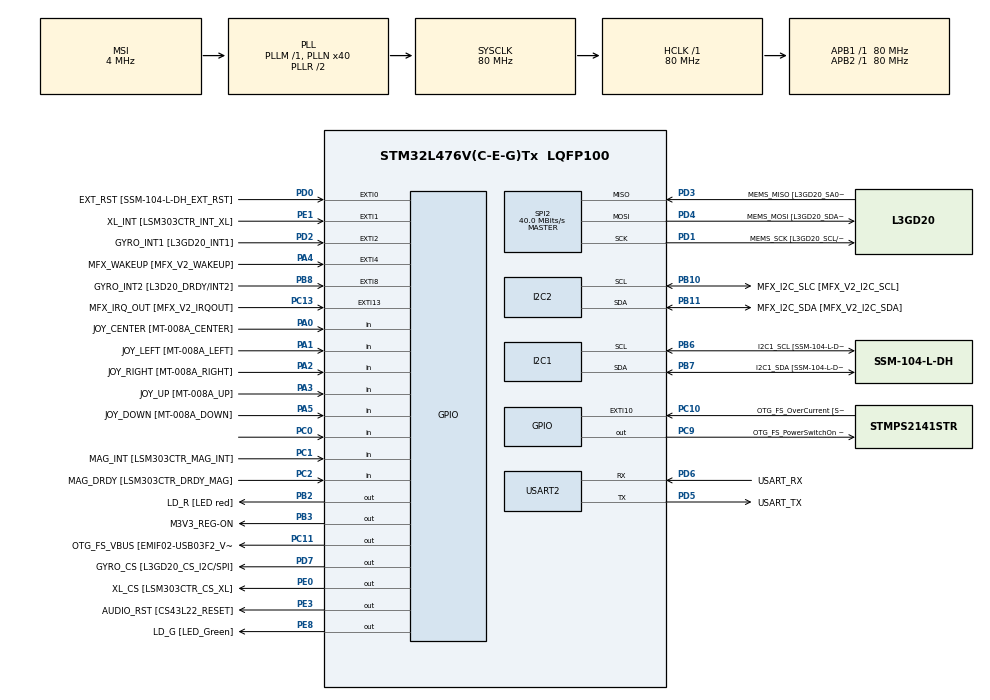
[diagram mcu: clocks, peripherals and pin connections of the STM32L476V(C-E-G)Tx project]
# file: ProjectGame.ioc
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FREERTOS.Tasks01=defaultTask,24,128,StartDefaultTask,Default,NULL,Dynamic,NULL,NULL;displayTask,8,512,StartTask02,Default,NULL,Dynamic,NULL,NULL
I2C1.Timing=0x10909CEC
I2C2.Timing=0x10909CEC
Mcu.Family=STM32L4
Mcu.Name=STM32L476V(C-E-G)Tx
Mcu.Package=LQFP100
NVIC.PriorityGroup=NVIC_PRIORITYGROUP_4
NVIC.TIM1_UP_TIM16_IRQn=true\:0\:0\:false\:false\:true\:false\:false\:true
NVIC.TIM2_IRQn=true\:5\:0\:false\:false\:true\:true\:true\:true
NVIC.TimeBase=TIM1_UP_TIM16_IRQn
NVIC.TimeBaseIP=TIM1
PA0.GPIO_Label=JOY_CENTER [MT-008A_CENTER]
PA0.GPIO_Mode=GPIO_MODE_INPUT
PA0.GPIO_PuPd=GPIO_PULLDOWN
PA0.Signal=GPIO_Input
PA1.GPIO_Label=JOY_LEFT [MT-008A_LEFT]
PA1.GPIO_Mode=GPIO_MODE_INPUT
PA1.GPIO_PuPd=GPIO_PULLDOWN
PA1.Signal=GPIO_Input
PA10.GPIO_Label=COM2 [GH08172T_COM2]
PA10.GPIO_Mode=GPIO_MODE_AF_PP
PA10.GPIO_PuPd=GPIO_NOPULL
PA10.GPIO_Speed=GPIO_SPEED_FREQ_LOW
PA10.Signal=LCD_COM2
PA11.GPIO_Label=OTG_FS_DM [EMIF02-USB03F2_D-out]
PA11.GPIO_Mode=GPIO_MODE_AF_PP
PA11.GPIO_PuPd=GPIO_NOPULL
PA11.GPIO_Speed=GPIO_SPEED_FREQ_VERY_HIGH
PA11.Signal=USB_OTG_FS_DM
PA12.GPIO_Label=OTG_FS_DP [EMIF02-USB03F2_D+out]
PA12.GPIO_Mode=GPIO_MODE_AF_PP
PA12.GPIO_PuPd=GPIO_NOPULL
PA12.GPIO_Speed=GPIO_SPEED_FREQ_VERY_HIGH
PA12.Signal=USB_OTG_FS_DP
PA13\ (JTMS-SWDIO).GPIO_Label=SWDIO
PA13\ (JTMS-SWDIO).Mode=Serial_Wire
PA13\ (JTMS-SWDIO).Signal=SYS_JTMS-SWDIO
PA14\ (JTCK-SWCLK).GPIO_Label=SWCLK
PA14\ (JTCK-SWCLK).Mode=Serial_Wire
PA14\ (JTCK-SWCLK).Signal=SYS_JTCK-SWCLK
PA15\ (JTDI).GPIO_Label=SEG10 [GH08172T_SEG10]
PA15\ (JTDI).GPIO_Mode=GPIO_MODE_AF_PP
PA15\ (JTDI).GPIO_PuPd=GPIO_NOPULL
PA15\ (JTDI).GPIO_Speed=GPIO_SPEED_FREQ_LOW
PA15\ (JTDI).Signal=LCD_SEG17
PA2.GPIO_Label=JOY_RIGHT [MT-008A_RIGHT]
PA2.GPIO_Mode=GPIO_MODE_INPUT
PA2.GPIO_PuPd=GPIO_PULLDOWN
PA2.Signal=GPIO_Input
PA3.GPIO_Label=JOY_UP [MT-008A_UP]
PA3.GPIO_Mode=GPIO_MODE_INPUT
PA3.GPIO_PuPd=GPIO_PULLDOWN
PA3.Signal=GPIO_Input
PA4.GPIO_Label=MFX_WAKEUP [MFX_V2_WAKEUP]
PA4.GPIO_ModeDefaultEXTI=GPIO_MODE_EVT_RISING
PA4.GPIO_PuPd=GPIO_NOPULL
PA4.Signal=GPXTI4
PA5.GPIO_Label=JOY_DOWN [MT-008A_DOWN]
PA5.GPIO_Mode=GPIO_MODE_INPUT
PA5.GPIO_PuPd=GPIO_PULLDOWN
PA5.Signal=GPIO_Input
PA6.GPIO_Label=SEG23 [GH08172T_SEG23]
PA6.GPIO_Mode=GPIO_MODE_AF_PP
PA6.GPIO_PuPd=GPIO_NOPULL
PA6.GPIO_Speed=GPIO_SPEED_FREQ_LOW
PA6.Signal=LCD_SEG3
PA7.GPIO_Label=SEG0 [GH08172T_SEG0]
PA7.GPIO_Mode=GPIO_MODE_AF_PP
PA7.GPIO_PuPd=GPIO_NOPULL
PA7.GPIO_Speed=GPIO_SPEED_FREQ_LOW
PA7.Signal=LCD_SEG4
PA8.GPIO_Label=COM0 [GH08172T_COM0]
PA8.GPIO_Mode=GPIO_MODE_AF_PP
PA8.GPIO_PuPd=GPIO_NOPULL
PA8.GPIO_Speed=GPIO_SPEED_FREQ_LOW
PA8.Signal=LCD_COM0
PA9.GPIO_Label=COM1 [GH08172T_COM1]
PA9.GPIO_Mode=GPIO_MODE_AF_PP
PA9.GPIO_PuPd=GPIO_NOPULL
PA9.GPIO_Speed=GPIO_SPEED_FREQ_LOW
PA9.Signal=LCD_COM1
PB0.GPIO_Label=SEG21 [GH08172T_SEG21]
PB0.GPIO_Mode=GPIO_MODE_AF_PP
PB0.GPIO_PuPd=GPIO_NOPULL
PB0.GPIO_Speed=GPIO_SPEED_FREQ_LOW
PB0.Signal=LCD_SEG5
PB1.GPIO_Label=SEG2 [GH08172T_SEG2]
PB1.GPIO_Mode=GPIO_MODE_AF_PP
PB1.GPIO_PuPd=GPIO_NOPULL
PB1.GPIO_Speed=GPIO_SPEED_FREQ_LOW
PB1.Signal=LCD_SEG6
PB10.GPIO_Label=MFX_I2C_SLC [MFX_V2_I2C_SCL]
PB10.GPIO_Mode=GPIO_MODE_AF_OD
PB10.GPIO_PuPdOD=GPIO_PULLUP
PB10.GPIO_Speed=GPIO_SPEED_FREQ_VERY_HIGH
PB10.Mode=I2C
PB10.Signal=I2C2_SCL
PB11.GPIO_Label=MFX_I2C_SDA [MFX_V2_I2C_SDA]
PB11.GPIO_Mode=GPIO_MODE_AF_OD
PB11.GPIO_PuPdOD=GPIO_PULLUP
PB11.GPIO_Speed=GPIO_SPEED_FREQ_VERY_HIGH
PB11.Mode=I2C
PB11.Signal=I2C2_SDA
PB12.GPIO_Label=SEG20 [GH08172T_SEG20]
PB12.GPIO_Mode=GPIO_MODE_AF_PP
PB12.GPIO_PuPd=GPIO_NOPULL
PB12.GPIO_Speed=GPIO_SPEED_FREQ_LOW
PB12.Signal=LCD_SEG12
PB13.GPIO_Label=SEG3 [GH08172T_SEG3]
PB13.GPIO_Mode=GPIO_MODE_AF_PP
PB13.GPIO_PuPd=GPIO_NOPULL
PB13.GPIO_Speed=GPIO_SPEED_FREQ_LOW
PB13.Signal=LCD_SEG13
PB14.GPIO_Label=SEG19 [GH08172T_SEG19]
PB14.GPIO_Mode=GPIO_MODE_AF_PP
PB14.GPIO_PuPd=GPIO_NOPULL
PB14.GPIO_Speed=GPIO_SPEED_FREQ_LOW
PB14.Signal=LCD_SEG14
PB15.GPIO_Label=SEG4 [GH08172T_SEG4]
PB15.GPIO_Mode=GPIO_MODE_AF_PP
PB15.GPIO_PuPd=GPIO_NOPULL
PB15.GPIO_Speed=GPIO_SPEED_FREQ_LOW
PB15.Signal=LCD_SEG15
PB2.GPIO_Label=LD_R [LED red]
PB2.GPIO_ModeDefaultOutputPP=GPIO_MODE_OUTPUT_PP
PB2.GPIO_PuPd=GPIO_PULLUP
PB2.GPIO_Speed=GPIO_SPEED_FREQ_VERY_HIGH
PB2.Signal=GPIO_Output
PB3\ (JTDO-TRACESWO).GPIO_Label=M3V3_REG-ON
PB3\ (JTDO-TRACESWO).GPIO_ModeDefaultOutputPP=GPIO_MODE_OUTPUT_PP
PB3\ (JTDO-TRACESWO).GPIO_PuPd=GPIO_NOPULL
PB3\ (JTDO-TRACESWO).GPIO_Speed=GPIO_SPEED_FREQ_LOW
PB3\ (JTDO-TRACESWO).Signal=GPIO_Output
PB4\ (NJTRST).GPIO_Label=SEG11 [GH08172T_SEG11]
PB4\ (NJTRST).GPIO_Mode=GPIO_MODE_AF_PP
PB4\ (NJTRST).GPIO_PuPd=GPIO_NOPULL
PB4\ (NJTRST).GPIO_Speed=GPIO_SPEED_FREQ_LOW
PB4\ (NJTRST).Signal=LCD_SEG8
PB5.GPIO_Label=SEG12 [GH08172T_SEG12]
PB5.GPIO_Mode=GPIO_MODE_AF_PP
PB5.GPIO_PuPd=GPIO_NOPULL
PB5.GPIO_Speed=GPIO_SPEED_FREQ_LOW
PB5.Signal=LCD_SEG9
PB6.GPIO_FM6=__NULL
PB6.GPIO_Label=I2C1_SCL [SSM-104-L-DH_SCL]
PB6.GPIO_Mode=GPIO_MODE_AF_OD
PB6.GPIO_PuPdOD=GPIO_PULLUP
PB6.GPIO_Speed=GPIO_SPEED_FREQ_VERY_HIGH
PB6.Mode=I2C
PB6.Signal=I2C1_SCL
PB7.GPIO_FM7=__NULL
PB7.GPIO_Label=I2C1_SDA [SSM-104-L-DH_SDA]
PB7.GPIO_Mode=GPIO_MODE_AF_OD
PB7.GPIO_PuPdOD=GPIO_PULLUP
PB7.GPIO_Speed=GPIO_SPEED_FREQ_VERY_HIGH
PB7.Mode=I2C
PB7.Signal=I2C1_SDA
PB8.GPIO_Label=GYRO_INT2 [L3D20_DRDY/INT2]
PB8.GPIO_ModeDefaultEXTI=GPIO_MODE_EVT_RISING
PB8.GPIO_PuPd=GPIO_NOPULL
PB8.Signal=GPXTI8
PB9.GPIO_FM9=__NULL
PB9.GPIO_Label=COM3 [GH08172T_COM3]
PB9.GPIO_Mode=GPIO_MODE_AF_PP
PB9.GPIO_PuPd=GPIO_NOPULL
PB9.GPIO_Speed=GPIO_SPEED_FREQ_LOW
PB9.Signal=LCD_COM3
PC0.Signal=GPIO_Input
PC1.GPIO_Label=MAG_INT [LSM303CTR_MAG_INT]
PC1.GPIO_Mode=GPIO_MODE_INPUT
PC1.GPIO_PuPd=GPIO_NOPULL
PC1.Signal=GPIO_Input
PC10.GPIO_Label=OTG_FS_OverCurrent [STMPS2141STR_FAULT]
PC10.GPIO_ModeDefaultEXTI=GPIO_MODE_EVT_RISING
PC10.GPIO_PuPd=GPIO_NOPULL
PC10.Signal=GPXTI10
PC11.GPIO_Label=OTG_FS_VBUS [EMIF02-USB03F2_Vbus]
PC11.GPIO_ModeDefaultOutputPP=GPIO_MODE_OUTPUT_PP
PC11.GPIO_PuPd=GPIO_NOPULL
PC11.GPIO_Speed=GPIO_SPEED_FREQ_LOW
PC11.Signal=GPIO_Output
PC13.GPIO_Label=MFX_IRQ_OUT [MFX_V2_IRQOUT]
PC13.GPIO_ModeDefaultEXTI=GPIO_MODE_EVT_RISING
PC13.GPIO_PuPd=GPIO_NOPULL
PC13.Signal=GPXTI13
PC14-OSC32_IN\ (PC14).Mode=LSE-External-Oscillator
PC14-OSC32_IN\ (PC14).Signal=RCC_OSC32_IN
PC15-OSC32_OUT\ (PC15).Mode=LSE-External-Oscillator
PC15-OSC32_OUT\ (PC15).Signal=RCC_OSC32_OUT
PC2.GPIO_Label=MAG_DRDY [LSM303CTR_DRDY_MAG]
PC2.GPIO_Mode=GPIO_MODE_INPUT
PC2.GPIO_PuPd=GPIO_NOPULL
PC2.Signal=GPIO_Input
PC3.GPIO_Label=VLCD
PC3.GPIO_Mode=GPIO_MODE_AF_PP
PC3.GPIO_PuPd=GPIO_NOPULL
PC3.GPIO_Speed=GPIO_SPEED_FREQ_LOW
PC3.Signal=LCD_VLCD
PC4.GPIO_Label=SEG22 [GH08172T_SEG22]
PC4.GPIO_Mode=GPIO_MODE_AF_PP
PC4.GPIO_PuPd=GPIO_NOPULL
PC4.GPIO_Speed=GPIO_SPEED_FREQ_LOW
PC4.Signal=LCD_SEG22
PC5.GPIO_Label=SEG1 [GH08172T_SEG1]
PC5.GPIO_Mode=GPIO_MODE_AF_PP
PC5.GPIO_PuPd=GPIO_NOPULL
PC5.GPIO_Speed=GPIO_SPEED_FREQ_LOW
PC5.Signal=LCD_SEG23
PC6.GPIO_Label=SEG14 [GH08172T_SEG14]
PC6.GPIO_Mode=GPIO_MODE_AF_PP
PC6.GPIO_PuPd=GPIO_NOPULL
PC6.GPIO_Speed=GPIO_SPEED_FREQ_LOW
PC6.Signal=LCD_SEG24
PC7.GPIO_Label=SEG9 [GH08172T_SEG9]
PC7.GPIO_Mode=GPIO_MODE_AF_PP
PC7.GPIO_PuPd=GPIO_NOPULL
PC7.GPIO_Speed=GPIO_SPEED_FREQ_LOW
PC7.Signal=LCD_SEG25
PC8.GPIO_Label=SEG13 [GH08172T_SEG13]
PC8.GPIO_Mode=GPIO_MODE_AF_PP
PC8.GPIO_PuPd=GPIO_NOPULL
PC8.GPIO_Speed=GPIO_SPEED_FREQ_LOW
PC8.Signal=LCD_SEG26
PC9.GPIO_Label=OTG_FS_PowerSwitchOn [STMPS2141STR_EN]
PC9.GPIO_ModeDefaultOutputPP=GPIO_MODE_OUTPUT_PP
PC9.GPIO_PuPd=GPIO_NOPULL
PC9.GPIO_Speed=GPIO_SPEED_FREQ_LOW
PC9.PinState=GPIO_PIN_SET
PC9.Signal=GPIO_Output
PD0.GPIO_Label=EXT_RST [SSM-104-L-DH_EXT_RST]
PD0.GPIO_ModeDefaultEXTI=GPIO_MODE_EVT_RISING
PD0.GPIO_PuPd=GPIO_NOPULL
PD0.Signal=GPXTI0
PD1.GPIO_Label=MEMS_SCK [L3GD20_SCL/SPC]
PD1.GPIO_Mode=GPIO_MODE_AF_PP
PD1.GPIO_PuPd=GPIO_NOPULL
PD1.GPIO_Speed=GPIO_SPEED_FREQ_VERY_HIGH
PD1.Mode=Full_Duplex_Master
PD1.Signal=SPI2_SCK
PD10.GPIO_Label=SEG17 [GH08172T_SEG17]
PD10.GPIO_Mode=GPIO_MODE_AF_PP
PD10.GPIO_PuPd=GPIO_NOPULL
PD10.GPIO_Speed=GPIO_SPEED_FREQ_LOW
PD10.Signal=LCD_SEG30
PD11.GPIO_Label=SEG6 [GH08172T_SEG6]
PD11.GPIO_Mode=GPIO_MODE_AF_PP
PD11.GPIO_PuPd=GPIO_NOPULL
PD11.GPIO_Speed=GPIO_SPEED_FREQ_LOW
PD11.Signal=LCD_SEG31
PD12.GPIO_Label=SEG16 [GH08172T_SEG16]
PD12.GPIO_Mode=GPIO_MODE_AF_PP
PD12.GPIO_PuPd=GPIO_NOPULL
PD12.GPIO_Speed=GPIO_SPEED_FREQ_LOW
PD12.Signal=LCD_SEG32
PD13.GPIO_Label=SEG7 [GH08172T_SEG7]
PD13.GPIO_Mode=GPIO_MODE_AF_PP
PD13.GPIO_PuPd=GPIO_NOPULL
PD13.GPIO_Speed=GPIO_SPEED_FREQ_LOW
PD13.Signal=LCD_SEG33
PD14.GPIO_Label=SEG15 [GH08172T_SEG15]
PD14.GPIO_Mode=GPIO_MODE_AF_PP
PD14.GPIO_PuPd=GPIO_NOPULL
PD14.GPIO_Speed=GPIO_SPEED_FREQ_LOW
PD14.Signal=LCD_SEG34
PD15.GPIO_Label=SEG8 [GH08172T_SEG8]
PD15.GPIO_Mode=GPIO_MODE_AF_PP
PD15.GPIO_PuPd=GPIO_NOPULL
PD15.GPIO_Speed=GPIO_SPEED_FREQ_LOW
PD15.Signal=LCD_SEG35
PD2.GPIO_Label=GYRO_INT1 [L3GD20_INT1]
PD2.GPIO_ModeDefaultEXTI=GPIO_MODE_EVT_RISING
PD2.GPIO_PuPd=GPIO_NOPULL
PD2.Signal=GPXTI2
PD3.GPIO_Label=MEMS_MISO [L3GD20_SA0/SDO]
PD3.GPIO_Mode=GPIO_MODE_AF_PP
PD3.GPIO_PuPd=GPIO_NOPULL
PD3.GPIO_Speed=GPIO_SPEED_FREQ_VERY_HIGH
PD3.Mode=Full_Duplex_Master
PD3.Signal=SPI2_MISO
PD4.GPIO_Label=MEMS_MOSI [L3GD20_SDA/SDI/SDO]
PD4.GPIO_Mode=GPIO_MODE_AF_PP
PD4.GPIO_PuPd=GPIO_NOPULL
PD4.GPIO_Speed=GPIO_SPEED_FREQ_VERY_HIGH
PD4.Mode=Full_Duplex_Master
PD4.Signal=SPI2_MOSI
PD5.GPIO_Label=USART_TX
PD5.GPIO_Mode=GPIO_MODE_AF_PP
PD5.GPIO_PuPd=GPIO_PULLUP
PD5.GPIO_Speed=GPIO_SPEED_FREQ_VERY_HIGH
PD5.Mode=Asynchronous
PD5.Signal=USART2_TX
PD6.GPIO_Label=USART_RX
PD6.GPIO_Mode=GPIO_MODE_AF_PP
PD6.GPIO_PuPd=GPIO_PULLUP
PD6.GPIO_Speed=GPIO_SPEED_FREQ_VERY_HIGH
PD6.Mode=Asynchronous
PD6.Signal=USART2_RX
PD7.GPIO_Label=GYRO_CS [L3GD20_CS_I2C/SPI]
PD7.GPIO_ModeDefaultOutputPP=GPIO_MODE_OUTPUT_PP
PD7.GPIO_PuPd=GPIO_NOPULL
PD7.GPIO_Speed=GPIO_SPEED_FREQ_VERY_HIGH
PD7.Signal=GPIO_Output
PD8.GPIO_Label=SEG18 [GH08172T_SEG18]
PD8.GPIO_Mode=GPIO_MODE_AF_PP
PD8.GPIO_PuPd=GPIO_NOPULL
PD8.GPIO_Speed=GPIO_SPEED_FREQ_LOW
PD8.Signal=LCD_SEG28
PD9.GPIO_Label=SEG5 [GH08172T_SEG5]
PD9.GPIO_Mode=GPIO_MODE_AF_PP
PD9.GPIO_PuPd=GPIO_NOPULL
PD9.GPIO_Speed=GPIO_SPEED_FREQ_LOW
PD9.Signal=LCD_SEG29
PE0.GPIO_Label=XL_CS [LSM303CTR_CS_XL]
PE0.GPIO_ModeDefaultOutputPP=GPIO_MODE_OUTPUT_PP
PE0.GPIO_PuPd=GPIO_NOPULL
PE0.GPIO_Speed=GPIO_SPEED_FREQ_LOW
PE0.Signal=GPIO_Output
PE1.GPIO_Label=XL_INT [LSM303CTR_INT_XL]
PE1.GPIO_ModeDefaultEXTI=GPIO_MODE_EVT_RISING
PE1.GPIO_PuPd=GPIO_NOPULL
PE1.Signal=GPXTI1
PE10.GPIO_Label=QSPI_CLK [N25Q128A13EF840E_C]
PE10.GPIO_Mode=GPIO_MODE_AF_PP
PE10.GPIO_PuPd=GPIO_NOPULL
PE10.GPIO_Speed=GPIO_SPEED_FREQ_VERY_HIGH
PE10.Signal=QUADSPI_CLK
PE11.GPIO_Label=QSPI_CS [N25Q128A13EF840E_S\#]
PE11.GPIO_Mode=GPIO_MODE_AF_PP
PE11.GPIO_PuPd=GPIO_NOPULL
PE11.GPIO_Speed=GPIO_SPEED_FREQ_VERY_HIGH
PE11.Signal=QUADSPI_NCS
PE12.GPIO_Label=QSPI_D0 [N25Q128A13EF840E_DQ0]
PE12.GPIO_Mode=GPIO_MODE_AF_PP
PE12.GPIO_PuPd=GPIO_NOPULL
PE12.GPIO_Speed=GPIO_SPEED_FREQ_VERY_HIGH
PE12.Signal=QUADSPI_BK1_IO0
PE13.GPIO_Label=QSPI_D1 [N25Q128A13EF840E_DQ1]
PE13.GPIO_Mode=GPIO_MODE_AF_PP
PE13.GPIO_PuPd=GPIO_NOPULL
PE13.GPIO_Speed=GPIO_SPEED_FREQ_VERY_HIGH
PE13.Signal=QUADSPI_BK1_IO1
PE14.GPIO_Label=QSPI_D2 [N25Q128A13EF840E_DQ2]
PE14.GPIO_Mode=GPIO_MODE_AF_PP
PE14.GPIO_PuPd=GPIO_NOPULL
PE14.GPIO_Speed=GPIO_SPEED_FREQ_VERY_HIGH
PE14.Signal=QUADSPI_BK1_IO2
PE15.GPIO_Label=QSPI_D3 [N25Q128A13EF840E_DQ3]
PE15.GPIO_Mode=GPIO_MODE_AF_PP
PE15.GPIO_PuPd=GPIO_NOPULL
PE15.GPIO_Speed=GPIO_SPEED_FREQ_VERY_HIGH
PE15.Signal=QUADSPI_BK1_IO3
PE2.GPIO_Label=SAI1_MCK [CS43L22_MCLK]
PE2.GPIO_Mode=GPIO_MODE_AF_PP
PE2.GPIO_PuPd=GPIO_NOPULL
PE2.GPIO_Speed=GPIO_SPEED_FREQ_VERY_HIGH
PE2.Signal=SAI1_MCLK_A
PE3.GPIO_Label=AUDIO_RST [CS43L22_RESET]
PE3.GPIO_ModeDefaultOutputPP=GPIO_MODE_OUTPUT_PP
PE3.GPIO_PuPd=GPIO_NOPULL
PE3.GPIO_Speed=GPIO_SPEED_FREQ_HIGH
PE3.Signal=GPIO_Output
PE4.GPIO_Label=SAI1_FS [CS43L22_LRCK]
PE4.GPIO_Mode=GPIO_MODE_AF_PP
PE4.GPIO_PuPd=GPIO_NOPULL
PE4.GPIO_Speed=GPIO_SPEED_FREQ_VERY_HIGH
PE4.Signal=SAI1_FS_A
PE5.GPIO_Label=SAI1_SCK [CS43L22_SCLK]
PE5.GPIO_Mode=GPIO_MODE_AF_PP
PE5.GPIO_PuPd=GPIO_NOPULL
PE5.GPIO_Speed=GPIO_SPEED_FREQ_VERY_HIGH
PE5.Signal=SAI1_SCK_A
PE6.GPIO_Label=SAI1_SD [CS43L22_SDIN]
PE6.GPIO_Mode=GPIO_MODE_AF_PP
PE6.GPIO_PuPd=GPIO_NOPULL
PE6.GPIO_Speed=GPIO_SPEED_FREQ_VERY_HIGH
PE6.Signal=SAI1_SD_A
PE7.GPIO_Label=AUDIO_DIN [MP34DT01_DOUT]
PE7.GPIO_Mode=GPIO_MODE_AF_PP
PE7.GPIO_PuPd=GPIO_NOPULL
PE7.GPIO_Speed=GPIO_SPEED_FREQ_VERY_HIGH
PE7.Signal=SAI1_SD_B
PE8.GPIO_Label=LD_G [LED_Green]
PE8.GPIO_ModeDefaultOutputPP=GPIO_MODE_OUTPUT_PP
PE8.GPIO_PuPd=GPIO_PULLUP
PE8.GPIO_Speed=GPIO_SPEED_FREQ_VERY_HIGH
PE8.Signal=GPIO_Output
PE9.GPIO_Label=AUDIO_CLK [MP34DT01_CLK]
PE9.GPIO_Mode=GPIO_MODE_AF_PP
PE9.GPIO_PuPd=GPIO_NOPULL
PE9.GPIO_Speed=GPIO_SPEED_FREQ_LOW
PE9.Signal=SAI1_FS_B
PH0-OSC_IN\ (PH0).Mode=HSE-External-Oscillator
PH0-OSC_IN\ (PH0).Signal=RCC_OSC_IN
PH1-OSC_OUT\ (PH1).Mode=HSE-External-Oscillator
PH1-OSC_OUT\ (PH1).Signal=RCC_OSC_OUT
ProjectManager.HeapSize=0x200
ProjectManager.StackSize=0x400
ProjectManager.TargetToolchain=STM32CubeIDE
RCC.ADCFreq_Value=32000000
RCC.AHBFreq_Value=80000000
RCC.APB1Freq_Value=80000000
RCC.APB1TimFreq_Value=80000000
RCC.APB2Freq_Value=80000000
RCC.APB2TimFreq_Value=80000000
RCC.CortexFreq_Value=80000000
RCC.HCLKFreq_Value=80000000
RCC.HSE_VALUE=8000000
RCC.HSI_VALUE=16000000
RCC.MSI_VALUE=4000000
RCC.PLLN=40
RCC.PLLSAI1N=16
RCC.PREFETCH_ENABLE=1
RCC.SYSCLKFreq_VALUE=80000000
RCC.SYSCLKSource=RCC_SYSCLKSOURCE_PLLCLK
RCC.USBFreq_Value=32000000
RCC.VCOOutputFreq_Value=160000000
SPI2.CalculateBaudRate=40.0 MBits/s
SPI2.Direction=SPI_DIRECTION_2LINES
SPI2.Mode=SPI_MODE_MASTER
SPI2.VirtualType=VM_MASTER
TIM2.AutoReloadPreload=TIM_AUTORELOAD_PRELOAD_ENABLE
TIM2.Period=100
TIM2.Prescaler=9999
USART2.VirtualMode-Asynchronous=VM_ASYNC
VP_FREERTOS_VS_CMSIS_V2.Mode=CMSIS_V2
VP_RNG_VS_RNG.Mode=RNG_Activate
VP_SYS_VS_tim1.Mode=TIM1
VP_TIM2_VS_ClockSourceINT.Mode=Internal
board=STM32L476G-DISCO

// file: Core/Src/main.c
/* USER CODE BEGIN Header */
/**
  ******************************************************************************
  * @file           : main.c
  * @brief          : Main program body
  ******************************************************************************
  * @attention
  *
  * <h2><center>&copy; Copyright (c) 2020 STMicroelectronics.
  * All rights reserved.</center></h2>
  *
  * This software component is licensed by ST under Ultimate Liberty license
  * SLA0044, the "License"; You may not use this file except in compliance with
  * the License. You may obtain a copy of the License at:
  *                             www.st.com/SLA0044
  *
  ******************************************************************************
  */
/* USER CODE END Header */

#include "main.h"
#include "cmsis_os.h"

/* USER CODE BEGIN Includes */
#include <stdio.h>
#include <string.h>
#include <stdlib.h>
#include <math.h>
#include <stdbool.h>

#include "stm32l476g_discovery.h"
#include "stm32l476g_discovery_gyroscope.h"
/* USER CODE END Includes */

/* USER CODE BEGIN PTD */

struct Position
{
	int x, z;
};

/* USER CODE END PTD */

/* USER CODE BEGIN PD */
#define UART_BUFFER_SIZE (80)

#define X_RAW_OFFSET (1817)
#define Y_RAW_OFFSET (-332)
#define Z_RAW_OFFSET (932)

#define X_NOISE_LEVEL (4760)
#define Y_NOISE_LEVEL (5210)
#define Z_NOISE_LEVEL (3900)

#define ROWS_DISPLAY (21)
#define COLS_DISPLAY (41)

#define X_ANGLE_CONV (-1011111)
#define Y_ANGLE_CONV (-966667)
#define Z_ANGLE_CONV (-966667)

#define ANGLE_LIMIT (45)

#define TRAIL_LENGTH (4)

/* USER CODE END PD */

I2C_HandleTypeDef hi2c1;
I2C_HandleTypeDef hi2c2;

RNG_HandleTypeDef hrng;

SPI_HandleTypeDef hspi2;

TIM_HandleTypeDef htim2;

UART_HandleTypeDef huart2;

/* Definitions for defaultTask */
osThreadId_t defaultTaskHandle;
const osThreadAttr_t defaultTask_attributes = {
  .name = "defaultTask",
  .priority = (osPriority_t) osPriorityNormal,
  .stack_size = 128 * 4
};
/* Definitions for displayTask */
osThreadId_t displayTaskHandle;
const osThreadAttr_t displayTask_attributes = {
  .name = "displayTask",
  .priority = (osPriority_t) osPriorityLow,
  .stack_size = 512 * 4
};
/* USER CODE BEGIN PV */
float gbl_buffer[3] = {0};

uint8_t gbl_uart2_transmitBuffer[UART_BUFFER_SIZE];
uint8_t gbl_uart2_receiveBuffer[UART_BUFFER_SIZE];

int x_accum = 0;
int y_accum = 0;
int z_accum = 0;

//constants. DO NOT CHANGE USING PROGRAM
const float x_dot_step = ((float)ROWS_DISPLAY / 2) / ANGLE_LIMIT;
const float z_dot_step = ((float)COLS_DISPLAY / 2) / ANGLE_LIMIT;

//constants. DO NOT CHANGE USING PROGRAM
struct Position center;

//newest is 0, oldest is 3
struct Position positions[4];
const char pos_chars[] = {'0','O','o','.','X'};

struct Position targetPositions[2];
bool targetNotGenerated = true;

char pos_char_string[2];

//scoring and level
int score = 0;
int level = 1;
int time_start = 1000;

//for debugging purposes
int num_points = 0;

/* USER CODE END PV */

void SystemClock_Config(void);
static void MX_GPIO_Init(void);
static void MX_I2C1_Init(void);
static void MX_I2C2_Init(void);
static void MX_RNG_Init(void);
static void MX_SPI2_Init(void);
static void MX_USART2_UART_Init(void);
static void MX_TIM2_Init(void);
void StartDefaultTask(void *argument);
void StartTask02(void *argument);

/* USER CODE BEGIN PFP */
int max(int num1, int num2);
int noiseFilter(int rawValue, int noiseLevel);
char* returnPosChar(int index);
int isXPositionOccupied(int index);
int isXZPositionOccupied(int x, int z);
void generateTargetPosition(void);
double calcDistance(struct Position p1, struct Position p2);
/* USER CODE END PFP */

/* USER CODE BEGIN 0 */
int max(int num1, int num2){
	if (num1 > num2){
		return num1;
	} else return num2;
}

int noiseFilter(int rawValue, int noiseLevel){
	if (abs(rawValue) >= noiseLevel){
		return rawValue;
	} else return 0;
}

char* returnPosChar(int index){

	pos_char_string[1] = '\0';

	pos_char_string[0] = pos_chars[index];
	return pos_char_string;

}

int isXPositionOccupied(int index){

	for(int i = 0; i < TRAIL_LENGTH; i++){
		if(index == (ROWS_DISPLAY - positions[i].x + 1)){
			return i;
		}
	}

	return -1;
}

int isXZPositionOccupied(int x, int z){

	for(int i = 0; i < TRAIL_LENGTH; i++){
		if((ROWS_DISPLAY - positions[i].x + 1) == x && positions[i].z == z){
			return i;
		}
	}

	return -1;
}

double calcDistance(struct Position p1, struct Position p2){
	return sqrt((p1.x - p2.x)*(p1.x - p2.x) + (p1.z - p2.z)*(p1.z - p2.z));
}

void generateTargetPosition(void){
	//int x_rand, z_rand;
	//generate random position
	struct Position rand;

	HAL_RNG_GenerateRandomNumber(&hrng, &rand.x);
	HAL_RNG_GenerateRandomNumber(&hrng, &rand.z);

	rand.x = (abs(rand.x) % ROWS_DISPLAY) + 1;
	rand.z = (abs(rand.z) % COLS_DISPLAY) + 1;

	//first time generating?
	if(targetNotGenerated){
		while(calcDistance(rand, positions[0]) <= 10.0){
			HAL_RNG_GenerateRandomNumber(&hrng, &rand.x);
			HAL_RNG_GenerateRandomNumber(&hrng, &rand.z);

			rand.x = (abs(rand.x) % ROWS_DISPLAY) + 1;
			rand.z = (abs(rand.z) % COLS_DISPLAY) + 1;
		}

		targetPositions[1] = rand;
		targetPositions[0] = targetPositions[1];
		targetNotGenerated = false;
	//next generate
	} else {
		targetPositions[1] = targetPositions[0];

		//calc distance

		while(calcDistance(rand, targetPositions[1]) <= 10.0){
			HAL_RNG_GenerateRandomNumber(&hrng, &rand.x);
			HAL_RNG_GenerateRandomNumber(&hrng, &rand.z);

			rand.x = (abs(rand.x) % ROWS_DISPLAY) + 1;
			rand.z = (abs(rand.z) % COLS_DISPLAY) + 1;

		}

		targetPositions[0] = rand;
	}
}
/* USER CODE END 0 */

int main(void)
{
  /* USER CODE BEGIN 1 */
	center.x = (ROWS_DISPLAY / 2) + 1;
	center.z = (COLS_DISPLAY / 2) + 1;

	for(int i = 0; i < TRAIL_LENGTH; i++){
		positions[i] = center;
	}

	timer = time_start;

  /* USER CODE END 1 */

  /* MCU Configuration--------------------------------------------------------*/

  /* Reset of all peripherals, Initializes the Flash interface and the Systick. */
  HAL_Init();

  /* Configure the system clock */
  SystemClock_Config();

  /* Initialize all configured peripherals */
  MX_GPIO_Init();
  MX_I2C1_Init();
  MX_I2C2_Init();
  MX_RNG_Init();
  MX_SPI2_Init();
  MX_USART2_UART_Init();
  MX_TIM2_Init();
  /* USER CODE BEGIN 2 */
  HAL_TIM_Base_Start_IT(&htim2);

  generateTargetPosition();
	/* Init the uart Buffers */
	for (unsigned char i = 0; i < UART_BUFFER_SIZE; i++)  {
       gbl_uart2_transmitBuffer[i] = '0' + i;
       gbl_uart2_receiveBuffer[i] = 0;
    }
	sprintf((char*)gbl_uart2_transmitBuffer,"Project Game Startup\a\n\r");
	HAL_UART_Transmit(&huart2, gbl_uart2_transmitBuffer, strlen((char *)gbl_uart2_transmitBuffer),100);

	sprintf((char*)gbl_uart2_transmitBuffer,"\x1b[2J");
	    HAL_UART_Transmit(&huart2, gbl_uart2_transmitBuffer, strlen((char *)gbl_uart2_transmitBuffer),100);

  /* USER CODE END 2 */

  /* Init scheduler */
  osKernelInitialize();

  /* Create the thread(s) */
  /* creation of defaultTask */
  defaultTaskHandle = osThreadNew(StartDefaultTask, NULL, &defaultTask_attributes);

  /* creation of displayTask */
  displayTaskHandle = osThreadNew(StartTask02, NULL, &displayTask_attributes);

  /* Start scheduler */
  osKernelStart();

  /* We should never get here as control is now taken by the scheduler */
  /* Infinite loop */
  while (1)
  {

  }
}

void SystemClock_Config(void)
{
  RCC_OscInitTypeDef RCC_OscInitStruct = {0};
  RCC_ClkInitTypeDef RCC_ClkInitStruct = {0};
  RCC_PeriphCLKInitTypeDef PeriphClkInit = {0};

  /** Configure LSE Drive Capability
  */
  HAL_PWR_EnableBkUpAccess();
  __HAL_RCC_LSEDRIVE_CONFIG(RCC_LSEDRIVE_LOW);
  /** Initializes the CPU, AHB and APB busses clocks
  */
  RCC_OscInitStruct.OscillatorType = RCC_OSCILLATORTYPE_LSE|RCC_OSCILLATORTYPE_MSI;
  RCC_OscInitStruct.LSEState = RCC_LSE_ON;
  RCC_OscInitStruct.MSIState = RCC_MSI_ON;
  RCC_OscInitStruct.MSICalibrationValue = 0;
  RCC_OscInitStruct.MSIClockRange = RCC_MSIRANGE_6;
  RCC_OscInitStruct.PLL.PLLState = RCC_PLL_ON;
  RCC_OscInitStruct.PLL.PLLSource = RCC_PLLSOURCE_MSI;
  RCC_OscInitStruct.PLL.PLLM = 1;
  RCC_OscInitStruct.PLL.PLLN = 40;
  RCC_OscInitStruct.PLL.PLLP = RCC_PLLP_DIV7;
  RCC_OscInitStruct.PLL.PLLQ = RCC_PLLQ_DIV2;
  RCC_OscInitStruct.PLL.PLLR = RCC_PLLR_DIV2;
  if (HAL_RCC_OscConfig(&RCC_OscInitStruct) != HAL_OK)
  {
    Error_Handler();
  }
  /** Initializes the CPU, AHB and APB busses clocks
  */
  RCC_ClkInitStruct.ClockType = RCC_CLOCKTYPE_HCLK|RCC_CLOCKTYPE_SYSCLK
                              |RCC_CLOCKTYPE_PCLK1|RCC_CLOCKTYPE_PCLK2;
  RCC_ClkInitStruct.SYSCLKSource = RCC_SYSCLKSOURCE_PLLCLK;
  RCC_ClkInitStruct.AHBCLKDivider = RCC_SYSCLK_DIV1;
  RCC_ClkInitStruct.APB1CLKDivider = RCC_HCLK_DIV1;
  RCC_ClkInitStruct.APB2CLKDivider = RCC_HCLK_DIV1;

  if (HAL_RCC_ClockConfig(&RCC_ClkInitStruct, FLASH_LATENCY_4) != HAL_OK)
  {
    Error_Handler();
  }
  PeriphClkInit.PeriphClockSelection = RCC_PERIPHCLK_USART2|RCC_PERIPHCLK_I2C1
                              |RCC_PERIPHCLK_I2C2|RCC_PERIPHCLK_RNG;
  PeriphClkInit.Usart2ClockSelection = RCC_USART2CLKSOURCE_PCLK1;
  PeriphClkInit.I2c1ClockSelection = RCC_I2C1CLKSOURCE_PCLK1;
  PeriphClkInit.I2c2ClockSelection = RCC_I2C2CLKSOURCE_PCLK1;
  PeriphClkInit.RngClockSelection = RCC_RNGCLKSOURCE_PLLSAI1;
  PeriphClkInit.PLLSAI1.PLLSAI1Source = RCC_PLLSOURCE_MSI;
  PeriphClkInit.PLLSAI1.PLLSAI1M = 1;
  PeriphClkInit.PLLSAI1.PLLSAI1N = 16;
  PeriphClkInit.PLLSAI1.PLLSAI1P = RCC_PLLP_DIV7;
  PeriphClkInit.PLLSAI1.PLLSAI1Q = RCC_PLLQ_DIV2;
  PeriphClkInit.PLLSAI1.PLLSAI1R = RCC_PLLR_DIV2;
  PeriphClkInit.PLLSAI1.PLLSAI1ClockOut = RCC_PLLSAI1_48M2CLK;
  if (HAL_RCCEx_PeriphCLKConfig(&PeriphClkInit) != HAL_OK)
  {
    Error_Handler();
  }
  /** Configure the main internal regulator output voltage
  */
  if (HAL_PWREx_ControlVoltageScaling(PWR_REGULATOR_VOLTAGE_SCALE1) != HAL_OK)
  {
    Error_Handler();
  }
  /** Enable MSI Auto calibration
  */
  HAL_RCCEx_EnableMSIPLLMode();
}

static void MX_I2C1_Init(void)
{

  hi2c1.Instance = I2C1;
  hi2c1.Init.Timing = 0x10909CEC;
  hi2c1.Init.OwnAddress1 = 0;
  hi2c1.Init.AddressingMode = I2C_ADDRESSINGMODE_7BIT;
  hi2c1.Init.DualAddressMode = I2C_DUALADDRESS_DISABLE;
  hi2c1.Init.OwnAddress2 = 0;
  hi2c1.Init.OwnAddress2Masks = I2C_OA2_NOMASK;
  hi2c1.Init.GeneralCallMode = I2C_GENERALCALL_DISABLE;
  hi2c1.Init.NoStretchMode = I2C_NOSTRETCH_DISABLE;
  if (HAL_I2C_Init(&hi2c1) != HAL_OK)
  {
    Error_Handler();
  }
  /** Configure Analogue filter
  */
  if (HAL_I2CEx_ConfigAnalogFilter(&hi2c1, I2C_ANALOGFILTER_ENABLE) != HAL_OK)
  {
    Error_Handler();
  }
  /** Configure Digital filter
  */
  if (HAL_I2CEx_ConfigDigitalFilter(&hi2c1, 0) != HAL_OK)
  {
    Error_Handler();
  }

}

static void MX_I2C2_Init(void)
{

  hi2c2.Instance = I2C2;
  hi2c2.Init.Timing = 0x10909CEC;
  hi2c2.Init.OwnAddress1 = 0;
  hi2c2.Init.AddressingMode = I2C_ADDRESSINGMODE_7BIT;
  hi2c2.Init.DualAddressMode = I2C_DUALADDRESS_DISABLE;
  hi2c2.Init.OwnAddress2 = 0;
  hi2c2.Init.OwnAddress2Masks = I2C_OA2_NOMASK;
  hi2c2.Init.GeneralCallMode = I2C_GENERALCALL_DISABLE;
  hi2c2.Init.NoStretchMode = I2C_NOSTRETCH_DISABLE;
  if (HAL_I2C_Init(&hi2c2) != HAL_OK)
  {
    Error_Handler();
  }
  /** Configure Analogue filter
  */
  if (HAL_I2CEx_ConfigAnalogFilter(&hi2c2, I2C_ANALOGFILTER_ENABLE) != HAL_OK)
  {
    Error_Handler();
  }
  /** Configure Digital filter
  */
  if (HAL_I2CEx_ConfigDigitalFilter(&hi2c2, 0) != HAL_OK)
  {
    Error_Handler();
  }

}

static void MX_RNG_Init(void)
{

  hrng.Instance = RNG;
  if (HAL_RNG_Init(&hrng) != HAL_OK)
  {
    Error_Handler();
  }

}

static void MX_SPI2_Init(void)
{

  /* SPI2 parameter configuration*/
  hspi2.Instance = SPI2;
  hspi2.Init.Mode = SPI_MODE_MASTER;
  hspi2.Init.Direction = SPI_DIRECTION_2LINES;
  hspi2.Init.DataSize = SPI_DATASIZE_4BIT;
  hspi2.Init.CLKPolarity = SPI_POLARITY_LOW;
  hspi2.Init.CLKPhase = SPI_PHASE_1EDGE;
  hspi2.Init.NSS = SPI_NSS_SOFT;
  hspi2.Init.BaudRatePrescaler = SPI_BAUDRATEPRESCALER_2;
  hspi2.Init.FirstBit = SPI_FIRSTBIT_MSB;
  hspi2.Init.TIMode = SPI_TIMODE_DISABLE;
  hspi2.Init.CRCCalculation = SPI_CRCCALCULATION_DISABLE;
  hspi2.Init.CRCPolynomial = 7;
  hspi2.Init.CRCLength = SPI_CRC_LENGTH_DATASIZE;
  hspi2.Init.NSSPMode = SPI_NSS_PULSE_ENABLE;
  if (HAL_SPI_Init(&hspi2) != HAL_OK)
  {
    Error_Handler();
  }

}

static void MX_TIM2_Init(void)
{

  TIM_ClockConfigTypeDef sClockSourceConfig = {0};
  TIM_MasterConfigTypeDef sMasterConfig = {0};

  htim2.Instance = TIM2;
  htim2.Init.Prescaler = 9999;
  htim2.Init.CounterMode = TIM_COUNTERMODE_UP;
  htim2.Init.Period = 100;
  htim2.Init.ClockDivision = TIM_CLOCKDIVISION_DIV1;
  htim2.Init.AutoReloadPreload = TIM_AUTORELOAD_PRELOAD_ENABLE;
  if (HAL_TIM_Base_Init(&htim2) != HAL_OK)
  {
    Error_Handler();
  }
  sClockSourceConfig.ClockSource = TIM_CLOCKSOURCE_INTERNAL;
  if (HAL_TIM_ConfigClockSource(&htim2, &sClockSourceConfig) != HAL_OK)
  {
    Error_Handler();
  }
  sMasterConfig.MasterOutputTrigger = TIM_TRGO_RESET;
  sMasterConfig.MasterSlaveMode = TIM_MASTERSLAVEMODE_DISABLE;
  if (HAL_TIMEx_MasterConfigSynchronization(&htim2, &sMasterConfig) != HAL_OK)
  {
    Error_Handler();
  }
  /* USER CODE BEGIN TIM2_Init 2 */
  //HAL_NVIC_SetPriority(TIM2_IRQn,0,0);
  //HAL_NVIC_EnableIRQ(TIM2_IRQn);
  /* USER CODE END TIM2_Init 2 */

}

static void MX_USART2_UART_Init(void)
{

  huart2.Instance = USART2;
  huart2.Init.BaudRate = 115200;
  huart2.Init.WordLength = UART_WORDLENGTH_8B;
  huart2.Init.StopBits = UART_STOPBITS_1;
  huart2.Init.Parity = UART_PARITY_NONE;
  huart2.Init.Mode = UART_MODE_TX_RX;
  huart2.Init.HwFlowCtl = UART_HWCONTROL_NONE;
  huart2.Init.OverSampling = UART_OVERSAMPLING_16;
  huart2.Init.OneBitSampling = UART_ONE_BIT_SAMPLE_DISABLE;
  huart2.AdvancedInit.AdvFeatureInit = UART_ADVFEATURE_NO_INIT;
  if (HAL_UART_Init(&huart2) != HAL_OK)
  {
    Error_Handler();
  }

}

static void MX_GPIO_Init(void)
{
  GPIO_InitTypeDef GPIO_InitStruct = {0};

  /* GPIO Ports Clock Enable */
  __HAL_RCC_GPIOE_CLK_ENABLE();
  __HAL_RCC_GPIOC_CLK_ENABLE();
  __HAL_RCC_GPIOH_CLK_ENABLE();
  __HAL_RCC_GPIOA_CLK_ENABLE();
  __HAL_RCC_GPIOB_CLK_ENABLE();
  __HAL_RCC_GPIOD_CLK_ENABLE();

  /*Configure GPIO pin Output Level */
  HAL_GPIO_WritePin(GPIOE, AUDIO_RST_Pin|LD_G_Pin|XL_CS_Pin, GPIO_PIN_RESET);

  /*Configure GPIO pin Output Level */
  HAL_GPIO_WritePin(GPIOB, LD_R_Pin|M3V3_REG_ON_Pin, GPIO_PIN_RESET);

  /*Configure GPIO pin Output Level */
  HAL_GPIO_WritePin(OTG_FS_PowerSwitchOn_GPIO_Port, OTG_FS_PowerSwitchOn_Pin, GPIO_PIN_SET);

  /*Configure GPIO pin Output Level */
  HAL_GPIO_WritePin(OTG_FS_VBUS_GPIO_Port, OTG_FS_VBUS_Pin, GPIO_PIN_RESET);

  /*Configure GPIO pin Output Level */
  HAL_GPIO_WritePin(GYRO_CS_GPIO_Port, GYRO_CS_Pin, GPIO_PIN_RESET);

  /*Configure GPIO pins : SAI1_MCK_Pin SAI1_FS_Pin SAI1_SCK_Pin SAI1_SD_Pin
                           AUDIO_DIN_Pin */
  GPIO_InitStruct.Pin = SAI1_MCK_Pin|SAI1_FS_Pin|SAI1_SCK_Pin|SAI1_SD_Pin
                          |AUDIO_DIN_Pin;
  GPIO_InitStruct.Mode = GPIO_MODE_AF_PP;
  GPIO_InitStruct.Pull = GPIO_NOPULL;
  GPIO_InitStruct.Speed = GPIO_SPEED_FREQ_VERY_HIGH;
  GPIO_InitStruct.Alternate = GPIO_AF13_SAI1;
  HAL_GPIO_Init(GPIOE, &GPIO_InitStruct);

  /*Configure GPIO pin : AUDIO_RST_Pin */
  GPIO_InitStruct.Pin = AUDIO_RST_Pin;
  GPIO_InitStruct.Mode = GPIO_MODE_OUTPUT_PP;
  GPIO_InitStruct.Pull = GPIO_NOPULL;
  GPIO_InitStruct.Speed = GPIO_SPEED_FREQ_HIGH;
  HAL_GPIO_Init(AUDIO_RST_GPIO_Port, &GPIO_InitStruct);

  /*Configure GPIO pins : MFX_IRQ_OUT_Pin OTG_FS_OverCurrent_Pin */
  GPIO_InitStruct.Pin = MFX_IRQ_OUT_Pin|OTG_FS_OverCurrent_Pin;
  GPIO_InitStruct.Mode = GPIO_MODE_EVT_RISING;
  GPIO_InitStruct.Pull = GPIO_NOPULL;
  HAL_GPIO_Init(GPIOC, &GPIO_InitStruct);

  /*Configure GPIO pins : PC0 MAG_INT_Pin MAG_DRDY_Pin */
  GPIO_InitStruct.Pin = GPIO_PIN_0|MAG_INT_Pin|MAG_DRDY_Pin;
  GPIO_InitStruct.Mode = GPIO_MODE_INPUT;
  GPIO_InitStruct.Pull = GPIO_NOPULL;
  HAL_GPIO_Init(GPIOC, &GPIO_InitStruct);

  /*Configure GPIO pins : VLCD_Pin SEG22_Pin SEG1_Pin SEG14_Pin
                           SEG9_Pin SEG13_Pin */
  GPIO_InitStruct.Pin = VLCD_Pin|SEG22_Pin|SEG1_Pin|SEG14_Pin
                          |SEG9_Pin|SEG13_Pin;
  GPIO_InitStruct.Mode = GPIO_MODE_AF_PP;
  GPIO_InitStruct.Pull = GPIO_NOPULL;
  GPIO_InitStruct.Speed = GPIO_SPEED_FREQ_LOW;
  GPIO_InitStruct.Alternate = GPIO_AF11_LCD;
  HAL_GPIO_Init(GPIOC, &GPIO_InitStruct);

  /*Configure GPIO pins : JOY_CENTER_Pin JOY_LEFT_Pin JOY_RIGHT_Pin JOY_UP_Pin
                           JOY_DOWN_Pin */
  GPIO_InitStruct.Pin = JOY_CENTER_Pin|JOY_LEFT_Pin|JOY_RIGHT_Pin|JOY_UP_Pin
                          |JOY_DOWN_Pin;
  GPIO_InitStruct.Mode = GPIO_MODE_INPUT;
  GPIO_InitStruct.Pull = GPIO_PULLDOWN;
  HAL_GPIO_Init(GPIOA, &GPIO_InitStruct);

  /*Configure GPIO pin : MFX_WAKEUP_Pin */
  GPIO_InitStruct.Pin = MFX_WAKEUP_Pin;
  GPIO_InitStruct.Mode = GPIO_MODE_EVT_RISING;
  GPIO_InitStruct.Pull = GPIO_NOPULL;
  HAL_GPIO_Init(MFX_WAKEUP_GPIO_Port, &GPIO_InitStruct);

  /*Configure GPIO pins : SEG23_Pin SEG0_Pin COM0_Pin COM1_Pin
                           COM2_Pin SEG10_Pin */
  GPIO_InitStruct.Pin = SEG23_Pin|SEG0_Pin|COM0_Pin|COM1_Pin
                          |COM2_Pin|SEG10_Pin;
  GPIO_InitStruct.Mode = GPIO_MODE_AF_PP;
  GPIO_InitStruct.Pull = GPIO_NOPULL;
  GPIO_InitStruct.Speed = GPIO_SPEED_FREQ_LOW;
  GPIO_InitStruct.Alternate = GPIO_AF11_LCD;
  HAL_GPIO_Init(GPIOA, &GPIO_InitStruct);

  /*Configure GPIO pins : SEG21_Pin SEG2_Pin SEG20_Pin SEG3_Pin
                           SEG19_Pin SEG4_Pin SEG11_Pin SEG12_Pin
                           COM3_Pin */
  GPIO_InitStruct.Pin = SEG21_Pin|SEG2_Pin|SEG20_Pin|SEG3_Pin
                          |SEG19_Pin|SEG4_Pin|SEG11_Pin|SEG12_Pin
                          |COM3_Pin;
  GPIO_InitStruct.Mode = GPIO_MODE_AF_PP;
  GPIO_InitStruct.Pull = GPIO_NOPULL;
  GPIO_InitStruct.Speed = GPIO_SPEED_FREQ_LOW;
  GPIO_InitStruct.Alternate = GPIO_AF11_LCD;
  HAL_GPIO_Init(GPIOB, &GPIO_InitStruct);

  /*Configure GPIO pin : LD_R_Pin */
  GPIO_InitStruct.Pin = LD_R_Pin;
  GPIO_InitStruct.Mode = GPIO_MODE_OUTPUT_PP;
  GPIO_InitStruct.Pull = GPIO_PULLUP;
  GPIO_InitStruct.Speed = GPIO_SPEED_FREQ_VERY_HIGH;
  HAL_GPIO_Init(LD_R_GPIO_Port, &GPIO_InitStruct);

  /*Configure GPIO pin : LD_G_Pin */
  GPIO_InitStruct.Pin = LD_G_Pin;
  GPIO_InitStruct.Mode = GPIO_MODE_OUTPUT_PP;
  GPIO_InitStruct.Pull = GPIO_PULLUP;
  GPIO_InitStruct.Speed = GPIO_SPEED_FREQ_VERY_HIGH;
  HAL_GPIO_Init(LD_G_GPIO_Port, &GPIO_InitStruct);

  /*Configure GPIO pin : AUDIO_CLK_Pin */
  GPIO_InitStruct.Pin = AUDIO_CLK_Pin;
  GPIO_InitStruct.Mode = GPIO_MODE_AF_PP;
  GPIO_InitStruct.Pull = GPIO_NOPULL;
  GPIO_InitStruct.Speed = GPIO_SPEED_FREQ_LOW;
  GPIO_InitStruct.Alternate = GPIO_AF13_SAI1;
  HAL_GPIO_Init(AUDIO_CLK_GPIO_Port, &GPIO_InitStruct);

  /*Configure GPIO pins : QSPI_CLK_Pin QSPI_CS_Pin QSPI_D0_Pin QSPI_D1_Pin
                           QSPI_D2_Pin QSPI_D3_Pin */
  GPIO_InitStruct.Pin = QSPI_CLK_Pin|QSPI_CS_Pin|QSPI_D0_Pin|QSPI_D1_Pin
                          |QSPI_D2_Pin|QSPI_D3_Pin;
  GPIO_InitStruct.Mode = GPIO_MODE_AF_PP;
  GPIO_InitStruct.Pull = GPIO_NOPULL;
  GPIO_InitStruct.Speed = GPIO_SPEED_FREQ_VERY_HIGH;
  GPIO_InitStruct.Alternate = GPIO_AF10_QUADSPI;
  HAL_GPIO_Init(GPIOE, &GPIO_InitStruct);

  /*Configure GPIO pins : SEG18_Pin SEG5_Pin SEG17_Pin SEG6_Pin
                           SEG16_Pin SEG7_Pin SEG15_Pin SEG8_Pin */
  GPIO_InitStruct.Pin = SEG18_Pin|SEG5_Pin|SEG17_Pin|SEG6_Pin
                          |SEG16_Pin|SEG7_Pin|SEG15_Pin|SEG8_Pin;
  GPIO_InitStruct.Mode = GPIO_MODE_AF_PP;
  GPIO_InitStruct.Pull = GPIO_NOPULL;
  GPIO_InitStruct.Speed = GPIO_SPEED_FREQ_LOW;
  GPIO_InitStruct.Alternate = GPIO_AF11_LCD;
  HAL_GPIO_Init(GPIOD, &GPIO_InitStruct);

  /*Configure GPIO pins : OTG_FS_PowerSwitchOn_Pin OTG_FS_VBUS_Pin */
  GPIO_InitStruct.Pin = OTG_FS_PowerSwitchOn_Pin|OTG_FS_VBUS_Pin;
  GPIO_InitStruct.Mode = GPIO_MODE_OUTPUT_PP;
  GPIO_InitStruct.Pull = GPIO_NOPULL;
  GPIO_InitStruct.Speed = GPIO_SPEED_FREQ_LOW;
  HAL_GPIO_Init(GPIOC, &GPIO_InitStruct);

  /*Configure GPIO pins : OTG_FS_DM_Pin OTG_FS_DP_Pin */
  GPIO_InitStruct.Pin = OTG_FS_DM_Pin|OTG_FS_DP_Pin;
  GPIO_InitStruct.Mode = GPIO_MODE_AF_PP;
  GPIO_InitStruct.Pull = GPIO_NOPULL;
  GPIO_InitStruct.Speed = GPIO_SPEED_FREQ_VERY_HIGH;
  GPIO_InitStruct.Alternate = GPIO_AF10_OTG_FS;
  HAL_GPIO_Init(GPIOA, &GPIO_InitStruct);

  /*Configure GPIO pins : EXT_RST_Pin GYRO_INT1_Pin */
  GPIO_InitStruct.Pin = EXT_RST_Pin|GYRO_INT1_Pin;
  GPIO_InitStruct.Mode = GPIO_MODE_EVT_RISING;
  GPIO_InitStruct.Pull = GPIO_NOPULL;
  HAL_GPIO_Init(GPIOD, &GPIO_InitStruct);

  /*Configure GPIO pin : GYRO_CS_Pin */
  GPIO_InitStruct.Pin = GYRO_CS_Pin;
  GPIO_InitStruct.Mode = GPIO_MODE_OUTPUT_PP;
  GPIO_InitStruct.Pull = GPIO_NOPULL;
  GPIO_InitStruct.Speed = GPIO_SPEED_FREQ_VERY_HIGH;
  HAL_GPIO_Init(GYRO_CS_GPIO_Port, &GPIO_InitStruct);

  /*Configure GPIO pin : M3V3_REG_ON_Pin */
  GPIO_InitStruct.Pin = M3V3_REG_ON_Pin;
  GPIO_InitStruct.Mode = GPIO_MODE_OUTPUT_PP;
  GPIO_InitStruct.Pull = GPIO_NOPULL;
  GPIO_InitStruct.Speed = GPIO_SPEED_FREQ_LOW;
  HAL_GPIO_Init(M3V3_REG_ON_GPIO_Port, &GPIO_InitStruct);

  /*Configure GPIO pin : GYRO_INT2_Pin */
  GPIO_InitStruct.Pin = GYRO_INT2_Pin;
  GPIO_InitStruct.Mode = GPIO_MODE_EVT_RISING;
  GPIO_InitStruct.Pull = GPIO_NOPULL;
  HAL_GPIO_Init(GYRO_INT2_GPIO_Port, &GPIO_InitStruct);

  /*Configure GPIO pin : XL_CS_Pin */
  GPIO_InitStruct.Pin = XL_CS_Pin;
  GPIO_InitStruct.Mode = GPIO_MODE_OUTPUT_PP;
  GPIO_InitStruct.Pull = GPIO_NOPULL;
  GPIO_InitStruct.Speed = GPIO_SPEED_FREQ_LOW;
  HAL_GPIO_Init(XL_CS_GPIO_Port, &GPIO_InitStruct);

  /*Configure GPIO pin : XL_INT_Pin */
  GPIO_InitStruct.Pin = XL_INT_Pin;
  GPIO_InitStruct.Mode = GPIO_MODE_EVT_RISING;
  GPIO_InitStruct.Pull = GPIO_NOPULL;
  HAL_GPIO_Init(XL_INT_GPIO_Port, &GPIO_InitStruct);

}

void StartDefaultTask(void *argument)
{
  /* USER CODE BEGIN 5 */
	if(BSP_GYRO_Init() != HAL_OK)  {
		    /* Initialization Error */
		Error_Handler();
	}
  /* Infinite loop */
  for(;;)
  {
    osDelay(1);

    /* Get Raw values */
    BSP_GYRO_GetXYZ(gbl_buffer);

    //processing of data with offset and noise filter
    x_accum += noiseFilter((int32_t)gbl_buffer[0] - X_RAW_OFFSET, X_NOISE_LEVEL);
    y_accum += noiseFilter((int32_t)gbl_buffer[1] - Y_RAW_OFFSET, Y_NOISE_LEVEL);
    z_accum += noiseFilter((int32_t)gbl_buffer[2] - Z_RAW_OFFSET, Z_NOISE_LEVEL);

    /*
    x_accum += gbl_buffer[0];
    y_accum += gbl_buffer[1];
    z_accum += gbl_buffer[2];

    num_points++;
    */
  }
  /* USER CODE END 5 */
}

void StartTask02(void *argument)
{
  /* USER CODE BEGIN StartTask02 */
  /* Infinite loop */
  for(;;)
  {
    osDelay(67); //67 for 15FPS
    HAL_GPIO_WritePin(GPIOE, LD_G_Pin, GPIO_PIN_RESET);

    /*
    int disp_accum_x = (int) round(((float) x_accum) / num_points);
    int disp_accum_y = (int) round(((float) y_accum) / num_points);
    int disp_accum_z = (int) round(((float) z_accum) / num_points);
	*/

    if(timer > 0){
		sprintf((char*)gbl_uart2_transmitBuffer,"\x1b[0;0H");
		HAL_UART_Transmit(&huart2, gbl_uart2_transmitBuffer, strlen((char *)gbl_uart2_transmitBuffer),100);

		//ascii display

		int x_char_index;
		int z_char_index;

		int disp_accum_x = x_accum / X_ANGLE_CONV;
		int disp_accum_y = y_accum / Y_ANGLE_CONV;
		int disp_accum_z = z_accum / Z_ANGLE_CONV;

		positions[0].x = center.x + (disp_accum_x * x_dot_step);
		positions[0].z = center.z + (disp_accum_z * z_dot_step);

		//struct Position temp_pos[4];

		//for(int i = 0; i < 4; i++){
		//	temp_pos[i] = positions[i];
		//}

		//generateTargetPosition();

		//insert level up code here
		if(calcDistance(targetPositions[0], positions[0]) < 2){
			generateTargetPosition();

			score += round(level*(((double) timer)/time_start));
			if (level < 6){
				level++;
				time_start = (time_start * 2) / 3;
			}

			timer = time_start;
			HAL_GPIO_WritePin(GPIOE, LD_G_Pin, GPIO_PIN_SET);
		}

			for(int i = 1; i <= ROWS_DISPLAY; i++){

				if((x_char_index = isXPositionOccupied(i)) != -1 || (ROWS_DISPLAY - targetPositions[0].x + 1) == i){

						sprintf((char*)gbl_uart2_transmitBuffer,"\0");
						for (int j = 1; j <= COLS_DISPLAY; j++){
							if((z_char_index = isXZPositionOccupied(i,j)) != -1){
								strcat((char*)gbl_uart2_transmitBuffer,returnPosChar(z_char_index));
								//z_char_index_tick = z_char_index;
							} else if(targetPositions[0].z == j && (ROWS_DISPLAY - targetPositions[0].x + 1) == i){
								strcat((char*)gbl_uart2_transmitBuffer,returnPosChar(4));
							} else {
								strcat((char*)gbl_uart2_transmitBuffer,"-");
							}
						}

					strcat((char*)gbl_uart2_transmitBuffer,"\r\n");
					HAL_UART_Transmit(&huart2, gbl_uart2_transmitBuffer, strlen((char *)gbl_uart2_transmitBuffer),100);
				} else {

						sprintf((char*)gbl_uart2_transmitBuffer,"%.*s\r\n", COLS_DISPLAY, "--------------------------------------------------------------------------");
						HAL_UART_Transmit(&huart2, gbl_uart2_transmitBuffer, strlen((char *)gbl_uart2_transmitBuffer),100);
				}

			}

			for(int i = TRAIL_LENGTH - 1; i > 0; i--){
				positions[i] = positions[i - 1];
			}

		sprintf((char*)gbl_uart2_transmitBuffer,"Level:%d   \r\nScore:%d   \r\nTime Left: %d.%02d   \r\n", level, score,timer / 100, timer % 100);
		HAL_UART_Transmit(&huart2, gbl_uart2_transmitBuffer, strlen((char *)gbl_uart2_transmitBuffer),100);
    } else {
    	HAL_GPIO_WritePin(GPIOB, LD_R_Pin, GPIO_PIN_SET);

    	sprintf((char*)gbl_uart2_transmitBuffer,"\x1b[2J");
    	HAL_UART_Transmit(&huart2, gbl_uart2_transmitBuffer, strlen((char *)gbl_uart2_transmitBuffer),100);

    	sprintf((char*)gbl_uart2_transmitBuffer,"\r\nGame Over\r\n\r\nLevel:%d\r\nScore:%d",level,score);
    	HAL_UART_Transmit(&huart2, gbl_uart2_transmitBuffer, strlen((char *)gbl_uart2_transmitBuffer),100);
    }
  }
  /* USER CODE END StartTask02 */
}

 /**
  * @brief  Period elapsed callback in non blocking mode
  * @note   This function is called  when TIM1 interrupt took place, inside
  * HAL_TIM_IRQHandler(). It makes a direct call to HAL_IncTick() to increment
  * a global variable "uwTick" used as application time base.
  * @param  htim : TIM handle
  * @retval None
  */
void HAL_TIM_PeriodElapsedCallback(TIM_HandleTypeDef *htim)
{
  if (htim->Instance == TIM1) {
    HAL_IncTick();
  }
}

void Error_Handler(void)
{
}

/************************ (C) COPYRIGHT STMicroelectronics *****END OF FILE****/
